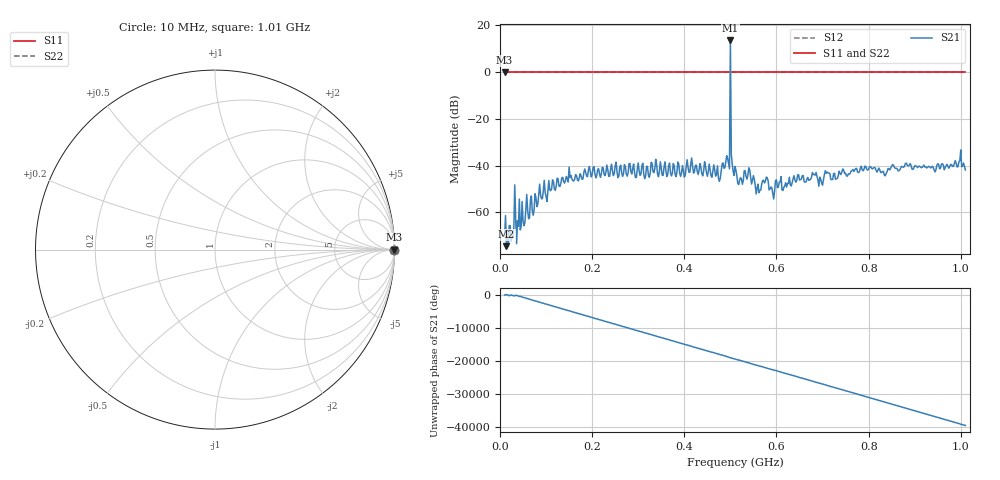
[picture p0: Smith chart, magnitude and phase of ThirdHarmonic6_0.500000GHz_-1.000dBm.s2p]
! 8/15/2025 3:01:53 PM
! C:\ANRITSUVNA\TEMP\TEMP.S2P
! CHANNEL.1
! TR.MEASUREMENT
! RAW.DATA
! RF.CORRECTION.OFF
! AVERAGING.OFF
! IF.BANDWIDTH: 5KHZ
! SWEEPTYPE:  FREQ.SWEEP(Linear)
! Reference Plane Port Info
! PORT:  PORT1  PORT2
! DISTANCE:  0  m  0  m
! TIME:  0  s  0  s
! PHASE.OFFSET:  0  deg.  0  deg.
! LOSS:  0  dB  0  dB
! REF.LOSS:  0  dB  0  dB
! REF.FREQ:  0  Hz  0  Hz
! Power Info
! POWER:  -20  dBm  -20  dBm
! EFF.POWER:  -20  dBm  -20  dBm
! SOURCE.ATTEN:  0  dB  0  dB
! TEST.ATTEN:  0  dB  0  dB
# GHZ S RI R 50.0
! FREQ.GHZ  S11RE  S11IM  S21RE  S21IM  S12RE  S12IM  S22RE  S22IM
!; PortSelection: Port_12
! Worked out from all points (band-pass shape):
!   501 points, 10 MHz to 1.01 GHz, reference 50 ohm
!   highest |S21| = 13.53 dB at 500 MHz (marker M1); lowest = -74.4 dB at 14 MHz (marker M2)
!   |S21| within 3 dB of the highest: 499.8906 MHz to 500.1233 MHz (232.6 kHz wide, 0.0465 % of centre)
!   lowest |S11| = 0.0 dB at 10 MHz (marker M3)
!   |S11| at or under -10 dB: nowhere
!   |S22| runs from 0.0 to 0.0 dB; largest |S21 - S12| = 4.2
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0.01  1 0  0.000104 -0.000286  1 0  1 0
0.014  1 0  0.00017 8.48e-05  1 0  1 0
0.092  1 0  0.000505 0.00192  1 0  1 0
0.178  1 0  -0.00505 0.000892  1 0  1 0
0.344  1 0  0.00386 -0.00436  1 0  1 0
0.474  1 0  -0.00485 0.00258  1 0  1 0
0.494  1 0  0.0142 0.00233  1 0  1 0
0.496  1 0  0.00318 -0.0106  1 0  1 0
0.5  1 0  2.978 3.701  1 0  1 0
0.504  1 0  0.00593 -0.00907  1 0  1 0
0.506  1 0  -0.00563 -0.00507  1 0  1 0
0.51  1 0  -4.86e-05 0.0096  1 0  1 0
0.522  1 0  0.00472 -0.00293  1 0  1 0
0.54  1 0  0.00817 -0.00381  1 0  1 0
0.56  1 0  -0.00114 -0.00386  1 0  1 0
0.578  1 0  -0.00094 -0.00564  1 0  1 0
0.592  1 0  0.00188 0.00169  1 0  1 0
0.678  1 0  -0.00425 -0.00573  1 0  1 0
0.696  1 0  -0.00345 -0.00389  1 0  1 0
0.71  1 0  0.00648 0.00341  1 0  1 0
0.844  1 0  0.00638 0.00577  1 0  1 0
1.01  1 0  -0.00812 -0.000101  1 0  1 0
